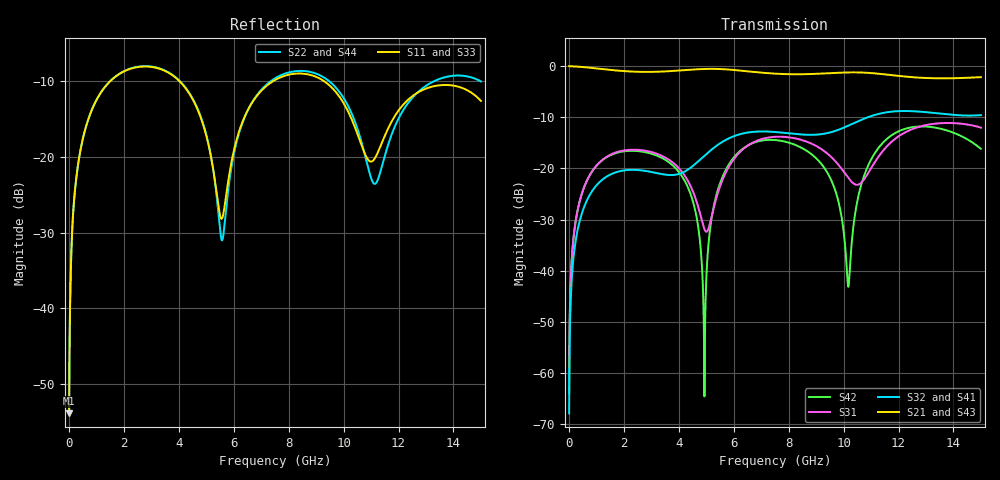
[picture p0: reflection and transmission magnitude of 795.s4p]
! Created with skrf 1.8.0 (http://scikit-rf.org).
# GHz S RI R 50.0
!freq ReS11 ImS11 ReS12 ImS12 ReS13 ImS13
! ReS14 ImS14
! ReS21 ImS21 ReS22 ImS22 ReS23 ImS23
! ReS24 ImS24
! ReS31 ImS31 ReS32 ImS32 ReS33 ImS33
! ReS34 ImS34
! ReS41 ImS41 ReS42 ImS42 ReS43 ImS43
! ReS44 ImS44
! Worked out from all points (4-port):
!   2499 points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, 5 MHz to 15 GHz, reference 50 ohm
!   strongest paths, dB at 5 MHz, 3.476 GHz, 7.19 GHz, 11.1 GHz, 15 GHz:
!     S21: 0.0, -1.0, -1.4, -1.4, -2.2
!     S43: 0.0, -1.0, -1.4, -1.4, -2.2
!     S32: -67.9, -21.2, -12.8, -9.6, -9.6
!     S41: -67.9, -21.2, -12.8, -9.6, -9.6
!     S31: -64.0, -17.8, -14.0, -19.1, -12.0
!     S42: -64.0, -18.2, -14.5, -17.4, -16.2
!   lowest |S11| = -53.8 dB at 5 MHz (marker M1), VSWR 1.00, Z = 50.2 + j0.123 ohm
!   |S11| at or under -10 dB: start of sweep to 1.505 GHz; 4.02 GHz to 7.437 GHz (3.418 GHz wide, 59.7 % of centre); 9.284 GHz to end of sweep
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0.005  0.00162 0.00123  0.9984 -0.00315  8.06e-05 0.000627  -7.84e-05 -0.000395
       0.9984 -0.00315  0.00162 0.00123  -7.84e-05 -0.000395  8.05e-05 0.000627
       8.06e-05 0.000627  -7.84e-05 -0.000395  0.00162 0.00123  0.9984 -0.00315
       -7.84e-05 -0.000395  8.05e-05 0.000627  0.9984 -0.00315  0.00162 0.00123
1.469362  0.2492 0.1871  0.5933 -0.703  0.1196 0.0614  -0.0849 -0.0134
          0.5933 -0.703  0.2509 0.1861  -0.085 -0.0134  0.114 0.0681
          0.1196 0.0614  -0.085 -0.0134  0.2491 0.1872  0.5933 -0.703
          -0.0849 -0.0134  0.114 0.0681  0.5933 -0.703  0.251 0.186
4.933306  0.0837 -0.1276  -0.8491 -0.3976  -0.0219 -0.013  -0.0528 0.122
          -0.8491 -0.3976  0.0752 -0.1355  -0.052 0.1223  -0.000551 -0.000212
          -0.0219 -0.013  -0.052 0.1223  0.083 -0.1281  -0.8491 -0.3975
          -0.0528 0.122  -0.000551 -0.000212  -0.8491 -0.3975  0.0761 -0.1354
6.458941  0.1372 0.1381  -0.7975 0.399  0.1196 0.1111  0.1309 0.1798
          -0.7975 0.399  0.1301 0.1434  0.1324 0.1794  0.1136 0.1188
          0.1196 0.1111  0.1324 0.1794  0.1352 0.1392  -0.7972 0.3993
          0.1309 0.1798  0.1136 0.1188  -0.7972 0.3993  0.1326 0.1427
10.17299  0.1551 -0.1226  0.6575 0.5661  -0.0543 -0.0597  0.1664 -0.2018
          0.6575 0.5661  0.1492 -0.1551  0.1625 -0.2052  -0.00622 -0.00313
          -0.0543 -0.0597  0.1625 -0.2052  0.1602 -0.1211  0.6571 0.5656
          0.1664 -0.2018  -0.00622 -0.00313  0.6571 0.5656  0.1474 -0.1598
11.01084  0.093 -0.00524  0.8356 0.1792  -0.0395 0.0935  0.0652 -0.3188
          0.8356 0.1792  0.0649 -0.0304  0.0597 -0.3195  0.00523 0.1232
          -0.0395 0.0935  0.0597 -0.3195  0.0973 -0.007  0.8355 0.1788
          0.0652 -0.3188  0.00523 0.1232  0.8355 0.1788  0.0619 -0.0327
15  0.2087 -0.1061  -0.2392 -0.742  0.0821 -0.2363  -0.2913 0.1541
    -0.2392 -0.742  0.2744 -0.154  -0.2894 0.1625  0.1491 -0.0435
    0.0821 -0.2363  -0.2894 0.1625  0.2119 -0.1017  -0.2406 -0.7404
    -0.2913 0.1541  0.1491 -0.0435  -0.2406 -0.7404  0.2771 -0.1597
